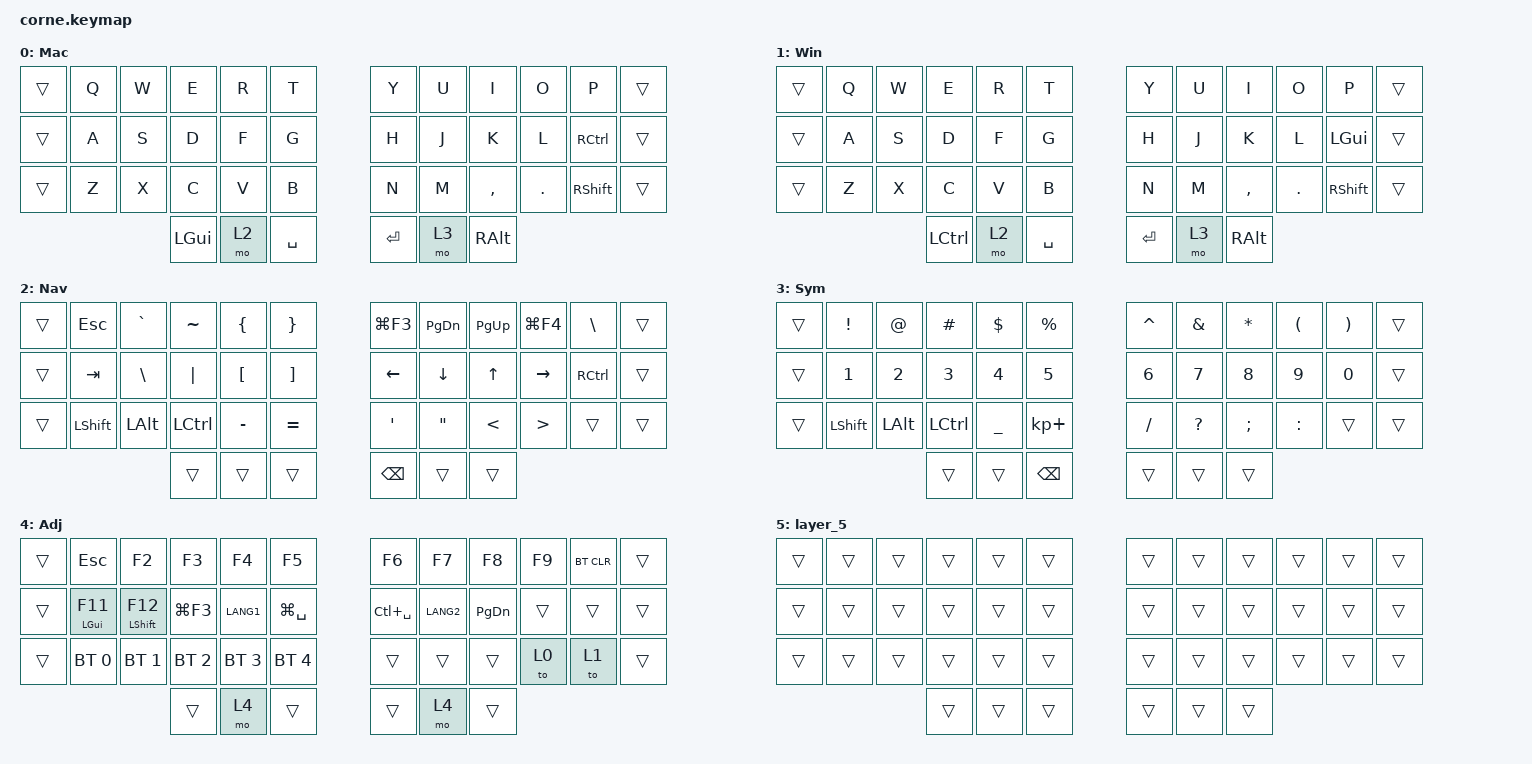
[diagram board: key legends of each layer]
#include <behaviors.dtsi>
#include <dt-bindings/zmk/bt.h>
#include <dt-bindings/zmk/keys.h>

#define DEF 0
#define NAV 1
#define SYM 2
#define ADJ 3

//testing mouse movement and scroll binds...

/ {
    behaviors {
        hm: homerow_mods {
            compatible = "zmk,behavior-hold-tap";
            label = "HOMEROW_MODS";
            #binding-cells = <2>;
            tapping-term-ms = <200>;
            quick_tap_ms = <0>;
            flavor = "tap-preferred";
            bindings = <&kp>, <&kp>;

            quick-tap-ms = <180>;
            global-quick-tap;
        };

        para: para {
            compatible = "zmk,behavior-tap-dance";
            label = "PARA";
            #binding-cells = <0>;
            bindings = <&kp LEFT_PARENTHESIS>, <&kp RIGHT_PARENTHESIS>;
        };

        caps: caps {
            compatible = "zmk,behavior-caps-word";
            label = "CAPS";
            #binding-cells = <0>;
            continue-list = <MINUS BACKSPACE>;
        };

        paraless: paraless {
            compatible = "zmk,behavior-mod-morph";
            label = "PARALESS";
            bindings = <&kp LEFT_PARENTHESIS>, <&kp LESS_THAN>;

            #binding-cells = <0>;
            mods = <(MOD_LSFT)>;
        };

        paragreat: paragreat {
            compatible = "zmk,behavior-mod-morph";
            label = "PARAGREAT";
            bindings = <&kp RIGHT_PARENTHESIS>, <&kp GREATER_THAN>;

            #binding-cells = <0>;
            mods = <(MOD_LSFT)>;
        };
    };

    combos {
        compatible = "zmk,combos";

        escape {
            bindings = <&kp ESCAPE>;
            key-positions = <13 29>;
        };

        delete {
            bindings = <&kp DELETE>;
            key-positions = <15 21>;
        };

        perc {
            bindings = <&kp PERCENT>;
            key-positions = <5 17>;
        };

        equal {
            bindings = <&kp EQUAL>;
            key-positions = <28 16>;
        };

        dollar {
            bindings = <&kp DOLLAR>;
            key-positions = <4 16>;
        };

        pound {
            bindings = <&kp POUND>;
            key-positions = <3 15>;
        };

        at {
            bindings = <&kp AT>;
            key-positions = <2 14>;
        };

        backslash {
            bindings = <&kp BACKSLASH>;
            key-positions = <26 14>;
        };

        copy {
            bindings = <&kp K_COPY>;
            key-positions = <28 27>;
        };

        paste {
            bindings = <&kp K_PASTE>;
            key-positions = <26 27>;
        };

        star {
            bindings = <&kp STAR>;
            key-positions = <8 20>;
        };

        slash {
            bindings = <&kp SLASH>;
            key-positions = <32 20>;
        };

        plus {
            bindings = <&kp PLUS>;
            key-positions = <7 19>;
        };

        minus {
            bindings = <&kp KP_MINUS>;
            key-positions = <31 19>;
        };

        underscore {
            bindings = <&kp UNDER>;
            key-positions = <30 18>;
        };

        leftbrack {
            bindings = <&kp LEFT_BRACKET>;
            key-positions = <31 32>;
        };

        rightbrack {
            bindings = <&kp RIGHT_BRACKET>;
            key-positions = <33 32>;
        };

        para-less {
            bindings = <&paraless>;
            key-positions = <20 19>;
        };

        para-great {
            bindings = <&paragreat>;
            key-positions = <20 21>;
        };
    };

    //

    keymap {
        compatible = "zmk,keymap";

        DEF_MAC {
            display-name = "Mac";

            // -----------------------------------------------------------------------------------------
            // |  Q  |  W  |  E  |  R  |  T  |   |  Y  |  U   |  I  |  O  |  P  |
            // |  A  |  S  |  D  |  F  |  G  |   |  H  |  J   |  K  |  L  |  ;  |
            // |  Z  |  X  |  C  |  V  |  B  |   |  N  |  M   |  ,  |  .  |  /  |
            // | GUI | CTRL | SHFT | LWR | SPC |   | ENT | RSE  | BKSP | ALT | ESC |

            bindings = <
&trans  &kp Q  &kp W  &kp E     &kp R  &kp T        &kp Y      &kp U  &kp I      &kp O    &kp P      &trans
&trans  &kp A  &kp S  &kp D     &kp F  &kp G        &kp H      &kp J  &kp K      &kp L    &kp RCTRL  &trans
&trans  &kp Z  &kp X  &kp C     &kp V  &kp B        &kp N      &kp M  &kp COMMA  &kp DOT  &kp RSHFT  &trans
                      &kp LGUI  &mo 2  &kp SPACE    &kp ENTER  &mo 3  &kp RALT
            >;
        };

        WIN_DEF {
            display-name = "Win";
            bindings = <
&trans  &kp Q  &kp W  &kp E      &kp R  &kp T        &kp Y    &kp U  &kp I      &kp O    &kp P      &trans
&trans  &kp A  &kp S  &kp D      &kp F  &kp G        &kp H    &kp J  &kp K      &kp L    &kp LGUI   &trans
&trans  &kp Z  &kp X  &kp C      &kp V  &kp B        &kp N    &kp M  &kp COMMA  &kp DOT  &kp RSHFT  &trans
                      &kp LCTRL  &mo 2  &kp SPACE    &kp RET  &mo 3  &kp RALT
            >;
        };

        NAV {
            display-name = "Nav";

            // -----------------------------------------------------------------------------------------
            // |  TAB |  1  |  2  |  3  |  4  |  5  |   |  6  |  7  |  8  |  9  |  0  | BKSP |
            // | BTCLR| BT1 | BT2 | BT3 | BT4 | BT5 |   | LFT | DWN |  UP | RGT |     |      |
            // | SHFT |     |     |     |     |     |   |     |     |     |     |     |      |
            // | GUI | CTRL | SHFT | LWR | SPC |   | ENT | RSE  | BKSP | ALT | ESC |

            bindings = <
&trans  &kp ESC    &kp GRAVE  &kp TILDE  &kp LBRC   &kp RBRC     &kp LG(F3)      &kp PG_DN  &kp PG_UP     &kp LG(F4)  &kp BSLH   &trans
&trans  &kp TAB    &kp BSLH   &kp PIPE   &kp LBKT   &kp RBKT     &kp LEFT_ARROW  &kp DOWN   &kp UP_ARROW  &kp RIGHT   &kp RCTRL  &trans
&trans  &kp LSHFT  &kp LALT   &kp LCTRL  &kp MINUS  &kp EQUAL    &kp SQT         &kp DQT    &kp LT        &kp GT      &trans     &trans
                              &trans     &trans     &trans       &kp BACKSPACE   &trans     &trans
            >;
        };

        SYM {
            display-name = "Sym";

            // -----------------------------------------------------------------------------------------
            // |  TAB |  !  |  @  |  #  |  $  |  %  |   |  ^  |  &  |  *  |  (  |  )  | BKSP |
            // | CTRL |     |     |     |     |     |   |  -  |  =  |  [  |  ]  |  \  |  `   |
            // | SHFT |     |     |     |     |     |   |  _  |  +  |  {  |  }  | "|" |  ~   |
            //                    | GUI |     | SPC |   | ENT |     | ALT |

            bindings = <
&trans  &kp EXCLAMATION  &kp AT_SIGN   &kp POUND  &kp DOLLAR  &kp PERCENT      &kp CARET  &kp AMPERSAND  &kp ASTRK  &kp LEFT_PARENTHESIS  &kp RIGHT_PARENTHESIS  &trans
&trans  &kp N1           &kp N2        &kp N3     &kp N4      &kp N5           &kp N6     &kp N7         &kp N8     &kp N9                &kp N0                 &trans
&trans  &kp LSHFT        &kp LEFT_ALT  &kp LCTRL  &kp UNDER   &kp KP_PLUS      &kp FSLH   &kp QMARK      &kp SEMI   &kp COLON             &trans                 &trans
                                       &trans     &trans      &kp BACKSPACE    &trans     &trans         &trans
            >;
        };

        ADJ {
            display-name = "Adj";
            bindings = <
&trans  &kp ESC       &kp F2         &kp F3        &kp F4        &kp F5           &kp F6         &kp F7     &kp F8         &kp F9  &bt BT_CLR  &trans
&trans  &hm LGUI F11  &hm LSHFT F12  &kp LG(F3)    &kp LANG1     &kp LG(SPACE)    &kp LC(SPACE)  &kp LANG2  &kp PAGE_DOWN  &trans  &trans      &trans
&trans  &bt BT_SEL 0  &bt BT_SEL 1   &bt BT_SEL 2  &bt BT_SEL 3  &bt BT_SEL 4     &trans         &trans     &trans         &to 0   &to 1       &trans
                                     &trans        &mo 4         &trans           &trans         &mo 4      &trans
            >;
        };

        layer_5 {
            bindings = <
&trans  &trans  &trans  &trans  &trans  &trans    &trans  &trans  &trans  &trans  &trans  &trans
&trans  &trans  &trans  &trans  &trans  &trans    &trans  &trans  &trans  &trans  &trans  &trans
&trans  &trans  &trans  &trans  &trans  &trans    &trans  &trans  &trans  &trans  &trans  &trans
                        &trans  &trans  &trans    &trans  &trans  &trans
            >;
        };
    };

    conditional_layers {
        compatible = "zmk,conditional-layers";

        ADJ {
            if-layers = <2 3>;
            then-layer = <4>;
        };
    };
};
